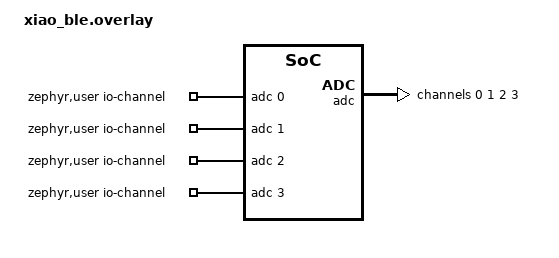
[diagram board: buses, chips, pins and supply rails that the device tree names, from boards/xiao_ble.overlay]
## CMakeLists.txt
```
#
# Copyright (c) 2021 Nordic Semiconductor ASA
#
# SPDX-License-Identifier: LicenseRef-Nordic-5-Clause
#

cmake_minimum_required(VERSION 3.20.0)

get_filename_component(MATTER_MODULE_ROOT $ENV{ZEPHYR_BASE}/../modules/lib/matter REALPATH)

# Set Kconfig root files that will be processed as a first Kconfig for used child images.
set(mcuboot_KCONFIG_ROOT ${MATTER_MODULE_ROOT}/config/nrfconnect/chip-module/Kconfig.mcuboot.root)
set(multiprotocol_rpmsg_KCONFIG_ROOT ${MATTER_MODULE_ROOT}/config/nrfconnect/chip-module/Kconfig.multiprotocol_rpmsg.root)
set(hci_rpmsg_KCONFIG_ROOT ${MATTER_MODULE_ROOT}/config/nrfconnect/chip-module/Kconfig.hci_rpmsg.root)

# For prj.conf the CONF_FILE is empty. In other case extract the exact file name from the path string.
if(CONF_FILE)
    get_filename_component(CONFIG_FILE_NAME ${CONF_FILE} NAME)
endif()

if(NOT CONFIG_FILE_NAME STREQUAL "prj_no_dfu.conf")
    set(PM_STATIC_YML_FILE ${CMAKE_CURRENT_SOURCE_DIR}/configuration/${BOARD}/pm_static_dfu.yml)
endif()

find_package(Zephyr HINTS $ENV{ZEPHYR_BASE})

project(matter-template)

set(COMMON_ROOT ${ZEPHYR_NRF_MODULE_DIR}/samples/matter/common)
set(NLIO_ROOT ${MATTER_MODULE_ROOT}/third_party/nlio/repo)
include(${MATTER_MODULE_ROOT}/config/nrfconnect/app/enable-gnu-std.cmake)
include(${MATTER_MODULE_ROOT}/src/app/chip_data_model.cmake)

# NORDIC SDK APP START
target_include_directories(app PRIVATE
    src
    ${COMMON_ROOT}/src
    ${NLIO_ROOT}/include
    ${MATTER_MODULE_ROOT}/zzz_generated/app-common
)

target_sources(app PRIVATE
    src/zcl_callbacks.cpp
    src/app_task.cpp
    src/main.cpp
    src/zap-generated/IMClusterCommandHandler.cpp
    src/zap-generated/callback-stub.cpp
    ${COMMON_ROOT}/src/led_widget.cpp
)

if(CONFIG_CHIP_OTA_REQUESTOR)
    target_sources(app PRIVATE ${COMMON_ROOT}/src/ota_util.cpp)
endif()

chip_configure_data_model(app
    INCLUDE_SERVER
    BYPASS_IDL
    GEN_DIR src/zap-generated
    ZAP_FILE ${CMAKE_CURRENT_SOURCE_DIR}/src/template.zap
)
# NORDIC SDK APP END
```

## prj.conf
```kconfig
#
# Copyright (c) 2021 Nordic Semiconductor ASA
#
# SPDX-License-Identifier: LicenseRef-Nordic-5-Clause
#

# This sample uses Kconfig.defaults to set options common for all
# samples. This file should contain only options specific for this sample
# or overrides of default values.

# Enable CHIP
CONFIG_CHIP=y
CONFIG_CHIP_ENABLE_PAIRING_AUTOSTART=y
CONFIG_CHIP_PROJECT_CONFIG="src/chip_project_config.h"
# 32768 == 0x8000 (example Product ID added temporaly,
# but it must be changed with proper PID from the list:
# https://github.com/project-chip/connectedhomeip/blob/482e6fd03196a6de45465a90003947ef4b86e0b1/docs/examples/discussion/PID_allocation_for_example_apps.md)
CONFIG_CHIP_DEVICE_PRODUCT_ID=32768
CONFIG_STD_CPP14=y

# Add support for LEDs and buttons on Nordic development kits
CONFIG_DK_LIBRARY=y

# Bluetooth Low Energy configuration
CONFIG_BT_DEVICE_NAME="OtaPressure"

#Enable GPIO
CONFIG_GPIO=y

# Other settings
CONFIG_THREAD_NAME=y
CONFIG_MPU_STACK_GUARD=y
CONFIG_RESET_ON_FATAL_ERROR=n
CONFIG_CHIP_LIB_SHELL=y

#LOG
CONFIG_SHELL_LOG_BACKEND=y

# Disable NFC commissioning
CONFIG_CHIP_NFC_COMMISSIONING=n

# Reduce application size
CONFIG_USE_SEGGER_RTT=n

CONFIG_ADC=y
CONFIG_ADC_ASYNC=y
```

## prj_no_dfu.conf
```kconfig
#
# Copyright (c) 2021 Nordic Semiconductor ASA
#
# SPDX-License-Identifier: LicenseRef-Nordic-5-Clause
#

# This sample uses Kconfig.defaults to set options common for all
# samples. This file should contain only options specific for this sample
# or overrides of default values.

# Enable CHIP
CONFIG_CHIP=y
CONFIG_CHIP_ENABLE_PAIRING_AUTOSTART=y
CONFIG_CHIP_PROJECT_CONFIG="src/chip_project_config.h"
# 32768 == 0x8000 (example Product ID added temporaly,
# but it must be changed with proper PID from the list:
# https://github.com/project-chip/connectedhomeip/blob/482e6fd03196a6de45465a90003947ef4b86e0b1/docs/examples/discussion/PID_allocation_for_example_apps.md)
CONFIG_CHIP_DEVICE_PRODUCT_ID=32768
CONFIG_STD_CPP14=y

# Add support for LEDs and buttons on Nordic development kits
CONFIG_DK_LIBRARY=y

# Bluetooth Low Energy configuration
CONFIG_BT_DEVICE_NAME="MatterTemplate"

# Other settings
CONFIG_THREAD_NAME=y
CONFIG_MPU_STACK_GUARD=y
CONFIG_RESET_ON_FATAL_ERROR=n
CONFIG_CHIP_LIB_SHELL=y

# Disable NFC commissioning
CONFIG_CHIP_NFC_COMMISSIONING=n

# Disable Matter OTA DFU
CONFIG_CHIP_OTA_REQUESTOR=n

# Disable QSPI NOR
CONFIG_CHIP_QSPI_NOR=n

# Reduce application size
CONFIG_USE_SEGGER_RTT=n

CONFIG_MULTITHREADING=y
```

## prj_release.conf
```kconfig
#
# Copyright (c) 2021 Nordic Semiconductor ASA
#
# SPDX-License-Identifier: LicenseRef-Nordic-5-Clause
#

# This sample uses Kconfig.defaults to set options common for all
# samples. This file should contain only options specific for this sample
# or overrides of default values.

# Enable CHIP
CONFIG_CHIP=y
CONFIG_CHIP_ENABLE_PAIRING_AUTOSTART=y
CONFIG_CHIP_PROJECT_CONFIG="src/chip_project_config.h"
# 32768 == 0x8000 (example Product ID added temporaly,
# but it must be changed with proper PID from the list:
# https://github.com/project-chip/connectedhomeip/blob/482e6fd03196a6de45465a90003947ef4b86e0b1/docs/examples/discussion/PID_allocation_for_example_apps.md)
CONFIG_CHIP_DEVICE_PRODUCT_ID=32768
CONFIG_STD_CPP14=y

# Add support for LEDs and buttons on Nordic development kits
CONFIG_DK_LIBRARY=y

# Bluetooth Low Energy configuration
CONFIG_BT_DEVICE_NAME="MatterTemplate"

# Enable system reset on fatal error
CONFIG_RESET_ON_FATAL_ERROR=y

# Disable all debug features
CONFIG_USE_SEGGER_RTT=n
CONFIG_SHELL=y
CONFIG_OPENTHREAD_SHELL=y
CONFIG_CONSOLE=y
CONFIG_UART_CONSOLE=n
CONFIG_SERIAL=y
CONFIG_LOG=y
CONFIG_LOG_MODE_MINIMAL=n
CONFIG_ASSERT_VERBOSE=n
CONFIG_ASSERT_NO_FILE_INFO=y
CONFIG_PRINTK=y
CONFIG_PRINTK_SYNC=n
CONFIG_THREAD_NAME=n
CONFIG_BOOT_BANNER=n

# Disable NFC commissioning
CONFIG_CHIP_NFC_COMMISSIONING=n

CONFIG_ADC=y
CONFIG_ADC_ASYNC=y
```

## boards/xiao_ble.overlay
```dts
/* Copyright (c) 2021 Nordic Semiconductor ASA
 *
 * SPDX-License-Identifier: LicenseRef-Nordic-5-Clause
 */

/ {
	chosen {
		nordic,pm-ext-flash = &p25q16h;
                zephyr,flash = &flash0;
	};
};


/ {
	/*
	* In some default configurations within the nRF Connect SDK,
	* e.g. on nRF52840, the chosen zephyr,entropy node is &cryptocell.
	* This devicetree overlay ensures that default is overridden wherever it
	* is set, as this application uses the RNG node for entropy exclusively.
	*/
	chosen {
		zephyr,entropy = &rng;
	};
};

// Shared with ADC pin
&i2c1 {
	status = "disabled";
};

&i2c0 {
	status = "disabled";
};

&adc {
	#address-cells = <1>;
	#size-cells = <0>;

	channel@0 {
		reg = <0>;
		zephyr,gain = "ADC_GAIN_1_6";
		zephyr,reference = "ADC_REF_INTERNAL";
		zephyr,acquisition-time = <ADC_ACQ_TIME_DEFAULT>;
		zephyr,input-positive = <NRF_ADC_AIN0>; /* P0.02 */
		zephyr,resolution = <12>;
	};

        channel@1 {
		reg = <1>;
		zephyr,gain = "ADC_GAIN_1_6";
		zephyr,reference = "ADC_REF_INTERNAL";
		zephyr,acquisition-time = <ADC_ACQ_TIME_DEFAULT>;
		zephyr,input-positive = <NRF_ADC_AIN1>; /* P0.03 */
		zephyr,resolution = <12>;
	};

        channel@2 {
		reg = <2>;
		zephyr,gain = "ADC_GAIN_1_6";
		zephyr,reference = "ADC_REF_INTERNAL";
		zephyr,acquisition-time = <ADC_ACQ_TIME_DEFAULT>;
		zephyr,input-positive = <NRF_ADC_AIN4>; /* P0.28 */
		zephyr,resolution = <12>;
	};

        channel@3 {
		reg = <3>;
		zephyr,gain = "ADC_GAIN_1_6";
		zephyr,reference = "ADC_REF_INTERNAL";
		zephyr,acquisition-time = <ADC_ACQ_TIME_DEFAULT>;
		zephyr,input-positive = <NRF_ADC_AIN5>; /* P0.29 */
		zephyr,resolution = <12>;
	};
};

/ {
        zephyr,user {
                io-channels = <&adc 0>, <&adc 1>, <&adc 2>, <&adc 3>;
        };
};

/* Disable unused peripherals to reduce power consumption
&uart1 {
	status = "disabled";
};
&i2c0 {
	status = "disabled";
};
&i2c1 {
	status = "disabled";
};
&pwm0 {
	status = "disabled";
};
&spi1 {
	status = "disabled";
};
&spi3 {
	status = "disabled";
};
&usbd {
	status = "disabled";
};
*/

/delete-node/ &boot_partition;
/delete-node/ &storage_partition;

&flash0 {
        partitions {
                compatible = "fixed-partitions";
                #address-cells = <1>;
                #size-cells = <1>;

                boot_partition: partition@0 {
                        label = "mcuboot";
                        reg = <0x00000000 0x0000E000>;
                };
                slot0_partition: partition@e000 {
                        label = "image-0";
                        reg = <0x0000E000 0x00075000>;
                };
                slot1_partition: partition@83000 {
                        label = "image-1";
                        reg = <0x00083000 0x00075000>;
                };

                /*
                 * The flash starting at 0x000f8000 and ending at
                 * 0x000fffff is reserved for use by the application.
                 */

                /*
                 * Storage partition will be used by FCB/LittleFS/NVS
                 * if enabled.
                 */
                storage_partition: partition@f8000 {
                        label = "storage";
                        reg = <0x000f8000 0x00008000>;
                };
        };
};
```

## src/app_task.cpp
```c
/*
 * Copyright (c) 2021 Nordic Semiconductor ASA
 *
 * SPDX-License-Identifier: LicenseRef-Nordic-5-Clause
 */

#include "app_task.h"
#include "app_config.h"
#include "led_util.h"

#include <platform/CHIPDeviceLayer.h>

#include "board_util.h"
#include <app/server/OnboardingCodesUtil.h>
#include <app/server/Server.h>
#include <credentials/DeviceAttestationCredsProvider.h>
#include <credentials/examples/DeviceAttestationCredsExample.h>
#include <lib/support/CHIPMem.h>
#include <lib/support/CodeUtils.h>
#include <system/SystemError.h>

#ifdef CONFIG_CHIP_WIFI
#include <app/clusters/network-commissioning/network-commissioning.h>
#include <platform/nrfconnect/wifi/NrfWiFiDriver.h>
#endif

#ifdef CONFIG_CHIP_OTA_REQUESTOR
#include "ota_util.h"
#endif

#include <dk_buttons_and_leds.h>
#include <zephyr/device.h>
#include <zephyr/devicetree.h>
#include <zephyr/drivers/adc.h>
#include <zephyr/kernel.h>
#include <zephyr/logging/log.h>

#include <app-common/zap-generated/attributes/Accessors.h>

LOG_MODULE_DECLARE(app, CONFIG_CHIP_APP_LOG_LEVEL);

using namespace ::chip;
using namespace ::chip::app;
using namespace ::chip::Credentials;
using namespace ::chip::DeviceLayer;

namespace
{
	constexpr size_t kAppEventQueueSize = 10;
	constexpr uint32_t kFactoryResetTriggerTimeout = 6000;

	K_MSGQ_DEFINE(sAppEventQueue, sizeof(AppEvent), kAppEventQueueSize, alignof(AppEvent));

	k_timer sFunctionTimer;
	k_timer sSensorTimer;

	LEDWidget sStatusLED;
	//#if NUMBER_OF_LEDS == 2
	FactoryResetLEDsWrapper<1> sFactoryResetLEDs{ { FACTORY_RESET_SIGNAL_LED } };
	//#else
	//FactoryResetLEDsWrapper<3> sFactoryResetLEDs{ { FACTORY_RESET_SIGNAL_LED, FACTORY_RESET_SIGNAL_LED1,
	//						FACTORY_RESET_SIGNAL_LED2 } };
	//#endif

	bool sIsNetworkProvisioned = false;
	bool sIsNetworkEnabled = false;
	bool sHaveBLEConnections = false;
} /* namespace */

namespace LedConsts
{
	namespace StatusLed
	{
		namespace Unprovisioned
		{
			constexpr uint32_t kOn_ms{ 100 };
			constexpr uint32_t kOff_ms{ kOn_ms };
		} /* namespace Unprovisioned */
		namespace Provisioned
		{
			constexpr uint32_t kOn_ms{ 50 };
			constexpr uint32_t kOff_ms{ 950 };
		} /* namespace Provisioned */

	} /* namespace StatusLed */
} /* namespace LedConsts */

#ifdef CONFIG_CHIP_WIFI
app::Clusters::NetworkCommissioning::Instance
	sWiFiCommissioningInstance(0, &(NetworkCommissioning::NrfWiFiDriver::Instance()));
#endif

#if !DT_NODE_EXISTS(DT_PATH(zephyr_user)) || \
	!DT_NODE_HAS_PROP(DT_PATH(zephyr_user), io_channels)
#error "No suitable devicetree overlay specified. ADC io-channel missing!"
#endif

#define DT_SPEC_AND_COMMA(node_id, prop, idx) \
	ADC_DT_SPEC_GET_BY_IDX(node_id, idx),

static const struct adc_dt_spec adc_channels[] = {
	DT_FOREACH_PROP_ELEM(DT_PATH(zephyr_user), io_channels,
			     DT_SPEC_AND_COMMA)
};

void SensorTimerHandler(k_timer *timer)
{
        AppEvent event;
        event.Type = AppEventType::SensorMeasure;
        event.Handler = AppTask::SensorMeasureHandler;
        AppTask::Instance().PostEvent(event);
}

void StartSensorTimer(uint32_t aTimeoutMs)
{
        k_timer_start(&sSensorTimer, K_MSEC(aTimeoutMs), K_MSEC(aTimeoutMs));
}

void StopSensorTimer()
{
        k_timer_stop(&sSensorTimer);
}

CHIP_ERROR AppTask::Init()
{
	/* Initialize CHIP stack */
	LOG_INF("Init CHIP stack");

	CHIP_ERROR err = chip::Platform::MemoryInit();
	if (err != CHIP_NO_ERROR) {
		LOG_ERR("Platform::MemoryInit() failed");
		return err;
	}

	err = PlatformMgr().InitChipStack();
	if (err != CHIP_NO_ERROR) {
		LOG_ERR("PlatformMgr().InitChipStack() failed");
		return err;
	}

#if defined(CONFIG_NET_L2_OPENTHREAD)
	err = ThreadStackMgr().InitThreadStack();
	if (err != CHIP_NO_ERROR) {
		LOG_ERR("ThreadStackMgr().InitThreadStack() failed: %s", ErrorStr(err));
		return err;
	}

#ifdef CONFIG_OPENTHREAD_MTD_SED
	err = ConnectivityMgr().SetThreadDeviceType(ConnectivityManager::kThreadDeviceType_SleepyEndDevice);
#elif CONFIG_OPENTHREAD_MTD
	err = ConnectivityMgr().SetThreadDeviceType(ConnectivityManager::kThreadDeviceType_MinimalEndDevice);
#else
	err = ConnectivityMgr().SetThreadDeviceType(ConnectivityManager::kThreadDeviceType_Router);
#endif /* CONFIG_OPENTHREAD_MTD_SED */
	if (err != CHIP_NO_ERROR) {
		LOG_ERR("ConnectivityMgr().SetThreadDeviceType() failed: %s", ErrorStr(err));
		return err;
	}

#elif defined(CONFIG_CHIP_WIFI)
	sWiFiCommissioningInstance.Init();
#else
	return CHIP_ERROR_INTERNAL;
#endif /* CONFIG_NET_L2_OPENTHREAD */

	/* Initialize LEDs */
	LEDWidget::InitGpio();
	LEDWidget::SetStateUpdateCallback(LEDStateUpdateHandler);

	sStatusLED.Init(SYSTEM_STATE_LED);

	UpdateStatusLED();

	/* Initialize buttons */
	int ret = dk_buttons_init(ButtonEventHandler);
	if (ret) {
		LOG_ERR("dk_buttons_init() failed");
		return chip::System::MapErrorZephyr(ret);
	}

	/* Initialize function timer */
	k_timer_init(&sFunctionTimer, &AppTask::FunctionTimerTimeoutCallback, nullptr);
	k_timer_user_data_set(&sFunctionTimer, this);

	/* Initialize CHIP server */
#if CONFIG_CHIP_FACTORY_DATA
	ReturnErrorOnFailure(mFactoryDataProvider.Init());
	SetDeviceInstanceInfoProvider(&mFactoryDataProvider);
	SetDeviceAttestationCredentialsProvider(&mFactoryDataProvider);
	SetCommissionableDataProvider(&mFactoryDataProvider);
#else
	SetDeviceInstanceInfoProvider(&DeviceInstanceInfoProviderMgrImpl());
	SetDeviceAttestationCredentialsProvider(Examples::GetExampleDACProvider());
#endif

	static chip::CommonCaseDeviceServerInitParams initParams;
	(void)initParams.InitializeStaticResourcesBeforeServerInit();

	ReturnErrorOnFailure(chip::Server::GetInstance().Init(initParams));
	ConfigurationMgr().LogDeviceConfig();
	PrintOnboardingCodes(chip::RendezvousInformationFlags(chip::RendezvousInformationFlag::kBLE));

	/*
	 * Add CHIP event handler and start CHIP thread.
	 * Note that all the initialization code should happen prior to this point to avoid data races
	 * between the main and the CHIP threads.
	 */
	PlatformMgr().AddEventHandler(ChipEventHandler, 0);

	err = PlatformMgr().StartEventLoopTask();
	if (err != CHIP_NO_ERROR) {
		LOG_ERR("PlatformMgr().StartEventLoopTask() failed");
		return err;
	}

	k_timer_init(&sSensorTimer, &SensorTimerHandler, nullptr);
	k_timer_user_data_set(&sSensorTimer, this);	

	/* Configure ADC channels individually prior to sampling. */
	for (size_t i = 0U; i < ARRAY_SIZE(adc_channels); i++) {
		if (!device_is_ready(adc_channels[i].dev)) {
			LOG_ERR("ADC controller device not ready\n");
			break;
		}

		int error = adc_channel_setup_dt(&adc_channels[i]);
		if (error < 0) {
			LOG_ERR("Could not setup channel #%d (%d)\n", i, error);
			break;
		}
	}	

	return CHIP_NO_ERROR;
}

CHIP_ERROR AppTask::StartApp()
{
	ReturnErrorOnFailure(Init());

	AppEvent event = {};

	while (true) {
		k_msgq_get(&sAppEventQueue, &event, K_FOREVER);
		DispatchEvent(event);
	}

	return CHIP_NO_ERROR;
}

void AppTask::ButtonEventHandler(uint32_t buttonState, uint32_t hasChanged)
{
	AppEvent button_event;
	button_event.Type = AppEventType::Button;

	if (FUNCTION_BUTTON_MASK & hasChanged) {
		button_event.ButtonEvent.PinNo = FUNCTION_BUTTON;
		button_event.ButtonEvent.Action =
			static_cast<uint8_t>((FUNCTION_BUTTON_MASK & buttonState) ? AppEventType::ButtonPushed :
										    AppEventType::ButtonReleased);
		button_event.Handler = FunctionHandler;
		PostEvent(button_event);
	}
}

void AppTask::FunctionTimerTimeoutCallback(k_timer *timer)
{
	if (!timer) {
		return;
	}

	AppEvent event;
	event.Type = AppEventType::Timer;
	event.TimerEvent.Context = k_timer_user_data_get(timer);
	event.Handler = FunctionTimerEventHandler;
	PostEvent(event);
}

void AppTask::FunctionTimerEventHandler(const AppEvent &)
{
	if (Instance().mFunction == FunctionEvent::FactoryReset) {
		Instance().mFunction = FunctionEvent::NoneSelected;
		LOG_INF("Factory Reset triggered");

		sStatusLED.Set(true);
		sFactoryResetLEDs.Set(true);

		chip::Server::GetInstance().ScheduleFactoryReset();
	}
}

void AppTask::FunctionHandler(const AppEvent &event)
{
	if (event.ButtonEvent.PinNo != FUNCTION_BUTTON)
		return;

	if (event.ButtonEvent.Action == static_cast<uint8_t>(AppEventType::ButtonPushed)) {
		Instance().StartTimer(kFactoryResetTriggerTimeout);
		Instance().mFunction = FunctionEvent::FactoryReset;
	} else if (event.ButtonEvent.Action == static_cast<uint8_t>(AppEventType::ButtonReleased)) {
		if (Instance().mFunction == FunctionEvent::FactoryReset) {
			sFactoryResetLEDs.Set(false);
			UpdateStatusLED();
			Instance().CancelTimer();
			Instance().mFunction = FunctionEvent::NoneSelected;
			LOG_INF("Factory Reset has been Canceled");
		}
	}
}

void AppTask::LEDStateUpdateHandler(LEDWidget &ledWidget)
{
	AppEvent event;
	event.Type = AppEventType::UpdateLedState;
	event.Handler = UpdateLedStateEventHandler;
	event.UpdateLedStateEvent.LedWidget = &ledWidget;
	PostEvent(event);
}

void AppTask::UpdateLedStateEventHandler(const AppEvent &event)
{
	if (event.Type == AppEventType::UpdateLedState) {
		event.UpdateLedStateEvent.LedWidget->UpdateState();
	}
}

void AppTask::UpdateStatusLED()
{
	/* Update the status LED.
	 *
	 * If IPv6 networking and service provisioned, keep the LED On constantly.
	 *
	 * If the system has BLE connection(s) uptill the stage above, THEN blink the LED at an even
	 * rate of 100ms.
	 *
	 * Otherwise, blink the LED for a very short time. */
	if (sIsNetworkProvisioned && sIsNetworkEnabled) {
		sStatusLED.Set(true);
	} else if (sHaveBLEConnections) {
		sStatusLED.Blink(LedConsts::StatusLed::Unprovisioned::kOn_ms,
				 LedConsts::StatusLed::Unprovisioned::kOff_ms);
	} else {
		sStatusLED.Blink(LedConsts::StatusLed::Provisioned::kOn_ms, LedConsts::StatusLed::Provisioned::kOff_ms);
	}
}

void AppTask::ChipEventHandler(const ChipDeviceEvent *event, intptr_t /* arg */)
{
	switch (event->Type) {
	case DeviceEventType::kCHIPoBLEAdvertisingChange:
		sHaveBLEConnections = ConnectivityMgr().NumBLEConnections() != 0;
		UpdateStatusLED();
		break;
#if defined(CONFIG_NET_L2_OPENTHREAD)
	case DeviceEventType::kDnssdInitialized:
#if CONFIG_CHIP_OTA_REQUESTOR
		InitBasicOTARequestor();
#endif /* CONFIG_CHIP_OTA_REQUESTOR */
		break;
	case DeviceEventType::kThreadStateChange:
		sIsNetworkProvisioned = ConnectivityMgr().IsThreadProvisioned();
		sIsNetworkEnabled = ConnectivityMgr().IsThreadEnabled();
#elif defined(CONFIG_CHIP_WIFI)
	case DeviceEventType::kWiFiConnectivityChange:
		sIsNetworkProvisioned = ConnectivityMgr().IsWiFiStationProvisioned();
		sIsNetworkEnabled = ConnectivityMgr().IsWiFiStationEnabled();
#if CONFIG_CHIP_OTA_REQUESTOR
		if (event->WiFiConnectivityChange.Result == kConnectivity_Established) {
			InitBasicOTARequestor();
		}
#endif /* CONFIG_CHIP_OTA_REQUESTOR */
#endif
		UpdateStatusLED();
		break;
	default:
		break;
	}
}

void AppTask::CancelTimer()
{
	k_timer_stop(&sFunctionTimer);
}

void AppTask::StartTimer(uint32_t timeoutInMs)
{
	k_timer_start(&sFunctionTimer, K_MSEC(timeoutInMs), K_NO_WAIT);
}

void AppTask::PostEvent(const AppEvent &event)
{
	if (k_msgq_put(&sAppEventQueue, &event, K_NO_WAIT) != 0) {
		LOG_INF("Failed to post event to app task event queue");
	}
}

void AppTask::DispatchEvent(const AppEvent &event)
{
	if (event.Handler) {
		event.Handler(event);
	} else {
		LOG_INF("Event received with no handler. Dropping event.");
	}
}

void AppTask::SensorActivateHandler(const AppEvent &)
{
        StartSensorTimer(5000);
}

void AppTask::SensorDeactivateHandler(const AppEvent &)
{
        StopSensorTimer();
}

void AppTask::SensorMeasureHandler(const AppEvent &)
{

		int16_t buf;
		int err;

		struct adc_sequence sequence = {
			.buffer = &buf,
			// buffer size in bytes, not number of samples
			.buffer_size = sizeof(buf),
		};

		LOG_INF("ADC reading:\n");
		for (size_t i = 0U; i < ARRAY_SIZE(adc_channels); i++) {
			int32_t val_mv;

			printk("- %s, channel %d: ",
				adc_channels[i].dev->name,
				adc_channels[i].channel_id);

			(void)adc_sequence_init_dt(&adc_channels[i], &sequence);

			err = adc_read(adc_channels[i].dev, &sequence);
			if (err < 0) {
				LOG_ERR("Could not read (%d)\n", err);
				continue;
			} else {
				LOG_INF("%" PRId16, buf);
			}

			// conversion to mV may not be supported, skip if not
			val_mv = buf;
			err = adc_raw_to_millivolts_dt(&adc_channels[i],
							&val_mv);
			if (err < 0) {
				LOG_ERR(" (value in mV not available)\n");
			} else {
				LOG_INF(" = %" PRId32 " mV\n", val_mv);
			}

			chip::app::Clusters::PressureMeasurement::Attributes::MeasuredValue::Set(
				/* endpoint ID */ i+1, /* pressure */ val_mv);
		}
}
```

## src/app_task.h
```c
/*
 * Copyright (c) 2021 Nordic Semiconductor ASA
 *
 * SPDX-License-Identifier: LicenseRef-Nordic-5-Clause
 */

#pragma once

#include "app_event.h"
#include "led_widget.h"

#include <platform/CHIPDeviceLayer.h>

#if CONFIG_CHIP_FACTORY_DATA
#include <platform/nrfconnect/FactoryDataProvider.h>
#else
#include <platform/nrfconnect/DeviceInstanceInfoProviderImpl.h>
#endif

struct k_timer;

class AppTask {
public:
	static AppTask &Instance()
	{
		static AppTask sAppTask;
		return sAppTask;
	};

	CHIP_ERROR StartApp();

	static void PostEvent(const AppEvent &event);
	static void SensorActivateHandler(const AppEvent &);
	static void SensorDeactivateHandler(const AppEvent &);
	static void SensorMeasureHandler(const AppEvent &);

private:
	CHIP_ERROR Init();

	void CancelTimer();
	void StartTimer(uint32_t timeoutInMs);

	static void DispatchEvent(const AppEvent &event);
	static void UpdateLedStateEventHandler(const AppEvent &event);
	static void FunctionHandler(const AppEvent &event);
	static void FunctionTimerEventHandler(const AppEvent &event);

	static void ChipEventHandler(const chip::DeviceLayer::ChipDeviceEvent *event, intptr_t arg);
	static void ButtonEventHandler(uint32_t buttonState, uint32_t hasChanged);
	static void LEDStateUpdateHandler(LEDWidget &ledWidget);
	static void FunctionTimerTimeoutCallback(k_timer *timer);
	static void UpdateStatusLED();

	FunctionEvent mFunction = FunctionEvent::NoneSelected;
	bool mFunctionTimerActive = false;

#if CONFIG_CHIP_FACTORY_DATA
	chip::DeviceLayer::FactoryDataProvider<chip::DeviceLayer::InternalFlashFactoryData> mFactoryDataProvider;
#endif
};
```

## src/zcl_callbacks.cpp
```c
#include "app_task.h"

#include <app-common/zap-generated/ids/Attributes.h>
#include <app-common/zap-generated/ids/Clusters.h>
#include <app/ConcreteAttributePath.h>

using namespace ::chip;
using namespace ::chip::app::Clusters;

void emberAfPressureMeasurementClusterInitCallback(EndpointId endpoint)
{
    if(endpoint == 1){
        AppEvent event;
        event.Type = AppEventType::SensorActivate;
        event.Handler = AppTask::SensorActivateHandler;

        //event.Type = AppEventType::SensorDeactivate;
        //event.Handler = AppTask::SensorDeactivateHandler;

        AppTask::Instance().PostEvent(event);
    }
}
```
